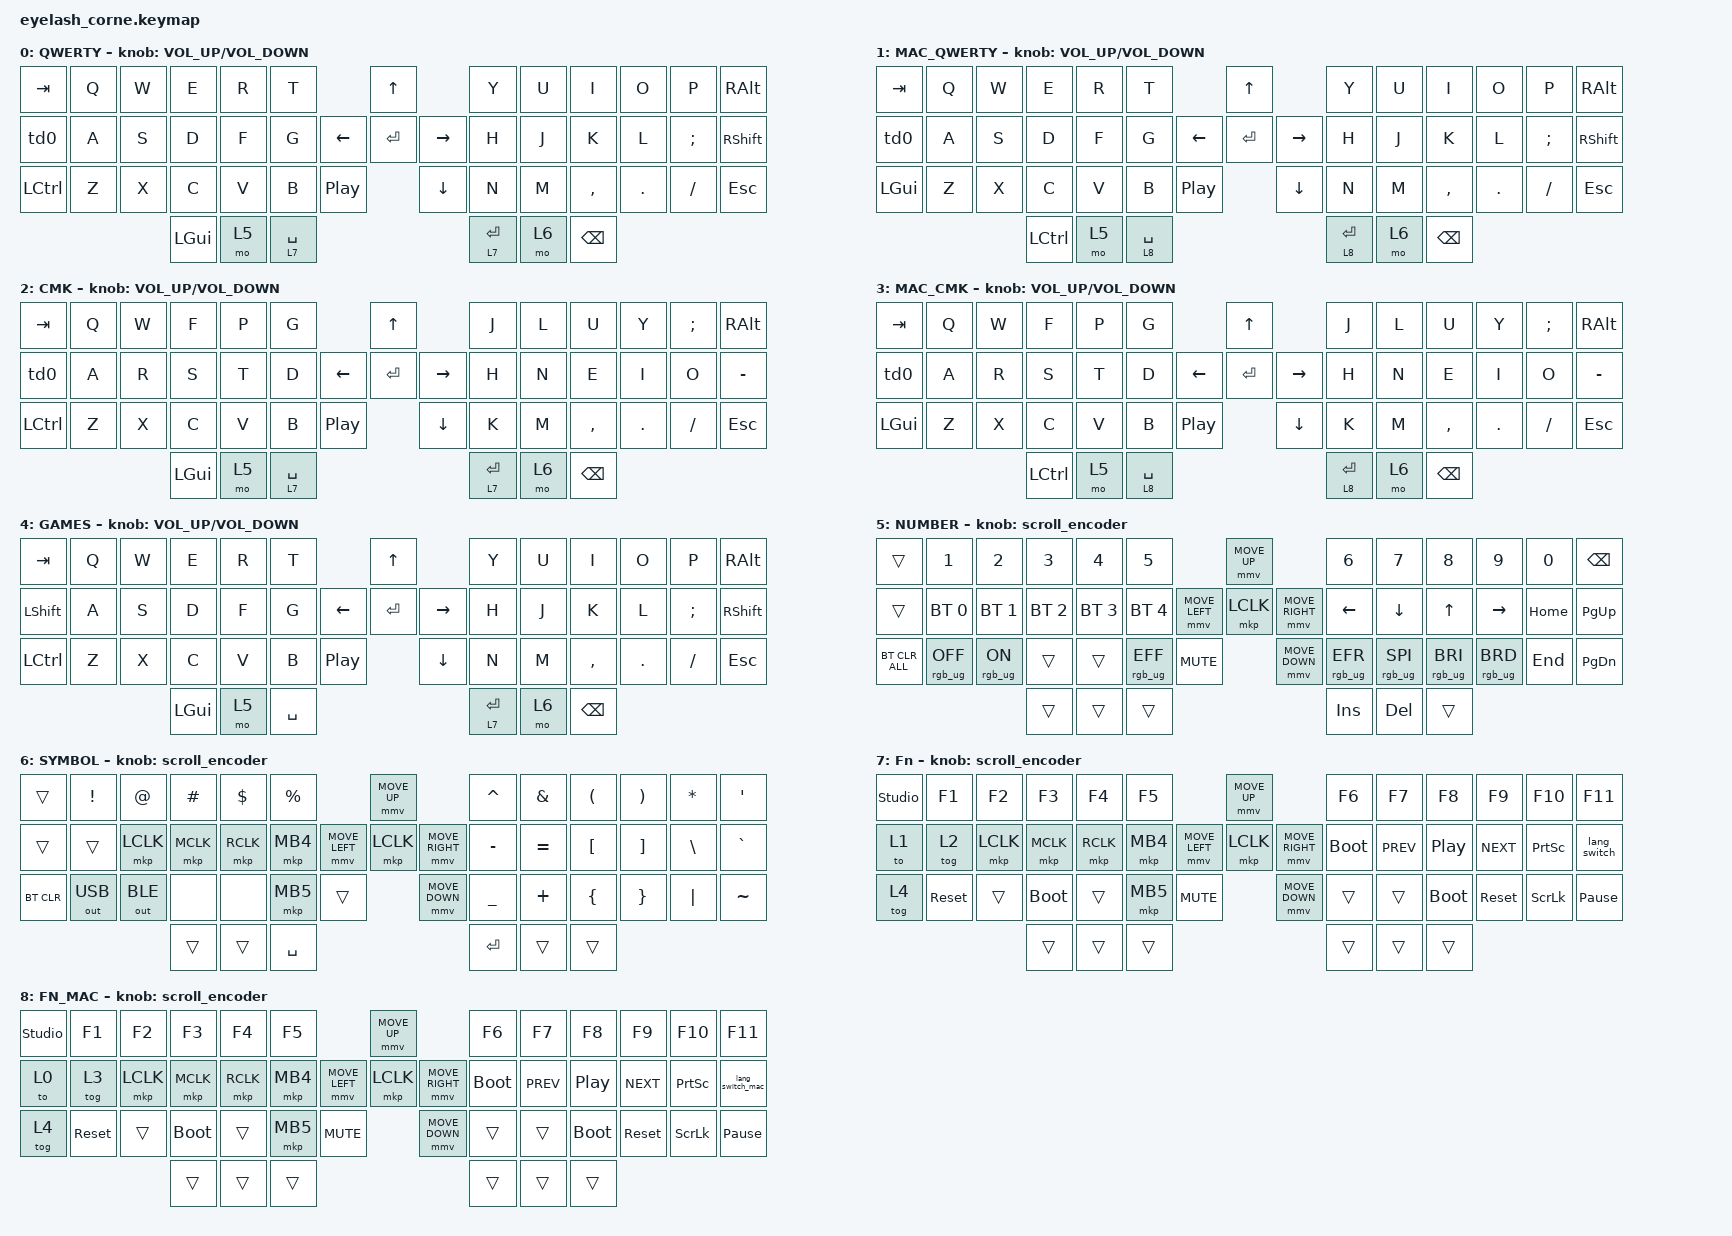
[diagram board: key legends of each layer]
#define ZMK_POINTING_DEFAULT_MOVE_VAL 1200  // 600
#define ZMK_POINTING_DEFAULT_SCRL_VAL 25   // 10

#include <input/processors.dtsi>
#include <zephyr/dt-bindings/input/input-event-codes.h>
#include <behaviors.dtsi>
#include <dt-bindings/zmk/bt.h>
#include <dt-bindings/zmk/keys.h>
#include <dt-bindings/zmk/outputs.h>
#include <dt-bindings/zmk/pointing.h>
#include <dt-bindings/zmk/rgb.h>

&mmv_input_listener { input-processors = <&zip_xy_scaler 2 1>; };

&msc_input_listener { input-processors = <&zip_scroll_scaler 2 1>; };

&msc {
    acceleration-exponent = <1>;      // 0
    time-to-max-speed-ms = <100>;       // 300
    delay-ms = <0>;                   // 0
};

&mmv {
    time-to-max-speed-ms = <500>;
    acceleration-exponent = <1>;
    trigger-period-ms = <16>;
};




/ {

    macros {        
        lang_switch: lang_switch {
            compatible = "zmk,behavior-macro";
            #binding-cells = <0>;
            wait-ms = <10>;
            tap-ms = <10>;
            bindings = <
                &macro_press &kp LGUI
                &macro_tap &kp SPACE
                &macro_release &kp LGUI
            >;
        };
        lang_switch_mac: lang_switch_mac {            
            compatible = "zmk,behavior-macro";#binding-cells = <0>;            
            wait-ms = <10>;            
            tap-ms = <10>;            
            bindings = <&macro_press &kp LCTRL &kp LALT>, 
                    <&macro_tap &kp SPACE>, 
                    <&macro_release &kp LCTRL &kp LALT>;
            };
        };


    behaviors {
        td0: td0 {
            compatible = "zmk,behavior-tap-dance";
            display-name = "Shift/Caps Lock Tap Dance";
            #binding-cells = <0>;
            bindings = <&kp LEFT_SHIFT>, <&kp CAPS>;
        };
    };

    rgb_encoder: rgb_encoder {
        compatible = "zmk,behavior-sensor-rotate";
        #sensor-binding-cells = <0>;
        bindings = <&rgb_ug RGB_BRI>, <&rgb_ug RGB_BRD>;
    };

    scroll_encoder: scroll_encoder {
        compatible = "zmk,behavior-sensor-rotate";
        #sensor-binding-cells = <0>;
        bindings = <&msc SCRL_DOWN>, <&msc SCRL_UP>;

        tap-ms = <100>;
    };

    keymap {
        compatible = "zmk,keymap";

        QWERTY {
            display-name = "QWERTY";
            bindings = <
&kp TAB    &kp Q  &kp W  &kp E     &kp R  &kp T                               &kp UP                &kp Y        &kp U  &kp I      &kp O    &kp P     &kp RALT
&td0       &kp A  &kp S  &kp D     &kp F  &kp G                     &kp LEFT  &kp ENTER  &kp RIGHT  &kp H        &kp J  &kp K      &kp L    &kp SEMI  &kp RIGHT_SHIFT
&kp LCTRL  &kp Z  &kp X  &kp C     &kp V  &kp B        &kp C_PP              &kp DOWN              &kp N        &kp M  &kp COMMA  &kp DOT  &kp FSLH  &kp ESC
                         &kp LGUI   &mo 5  &lt 7 SPACE                                               &lt 7 ENTER  &mo 6  &kp BSPC
            >;

             sensor-bindings = <&inc_dec_kp C_VOLUME_UP C_VOLUME_DOWN>; 
        };    

        QWERTY_MAC {
            display-name = "MAC_QWERTY";
            bindings = <
&kp TAB    &kp Q  &kp W  &kp E     &kp R  &kp T                               &kp UP                &kp Y        &kp U  &kp I      &kp O    &kp P     &kp RALT
&td0       &kp A  &kp S  &kp D     &kp F  &kp G                     &kp LEFT  &kp ENTER  &kp RIGHT  &kp H        &kp J  &kp K      &kp L    &kp SEMI  &kp RIGHT_SHIFT
&kp LGUI  &kp Z  &kp X  &kp C     &kp V  &kp B        &kp C_PP              &kp DOWN              &kp N        &kp M  &kp COMMA  &kp DOT  &kp FSLH  &kp ESC
                         &kp LCTRL   &mo 5  &lt 8 SPACE                                               &lt 8 ENTER  &mo 6  &kp BSPC
            >;

             sensor-bindings = <&inc_dec_kp C_VOLUME_UP C_VOLUME_DOWN>; 
        };    

        COLEMAK {
            display-name = "CMK";
            bindings = <
&kp TAB    &kp Q  &kp W  &kp F  &kp P  &kp G                         &kp UP               &kp J  &kp L  &kp U     &kp Y     &kp SEMI     &kp RALT
&td0       &kp A    &kp R      &kp S    &kp T  &kp D              &kp LEFT  &kp ENTER &kp RIGHT  &kp H  &kp N  &kp E     &kp I     &kp O     &kp MINUS
&kp LCTRL  &kp Z &kp X      &kp C    &kp V  &kp B     &kp C_PP         &kp DOWN             &kp K  &kp M  &kp COMMA     &kp DOT     &kp FSLH     &kp ESC
                        &kp LGUI  &mo 5  &lt 7 SPACE                                         &lt 7 ENTER  &mo 6  &kp BSPC
            >;

            sensor-bindings = <&inc_dec_kp C_VOLUME_UP C_VOLUME_DOWN>;
        };

        COLEMAK_MAC {
            display-name = "MAC_CMK";
            bindings = <
&kp TAB    &kp Q  &kp W  &kp F  &kp P  &kp G                         &kp UP               &kp J  &kp L  &kp U     &kp Y     &kp SEMI     &kp RALT
&td0       &kp A    &kp R      &kp S    &kp T  &kp D              &kp LEFT  &kp ENTER &kp RIGHT  &kp H  &kp N  &kp E     &kp I     &kp O     &kp MINUS
&kp LGUI  &kp Z &kp X      &kp C    &kp V  &kp B     &kp C_PP         &kp DOWN             &kp K  &kp M  &kp COMMA     &kp DOT     &kp FSLH     &kp ESC
                        &kp LCTRL  &mo 5  &lt 8 SPACE                                         &lt 8 ENTER  &mo 6  &kp BSPC
            >;

            sensor-bindings = <&inc_dec_kp C_VOLUME_UP C_VOLUME_DOWN>;
        };

        GAMES {
            display-name = "GAMES";
            bindings = <
&kp TAB    &kp Q  &kp W  &kp E     &kp R  &kp T                               &kp UP                &kp Y        &kp U  &kp I      &kp O    &kp P     &kp RALT
&kp LEFT_SHIFT       &kp A  &kp S  &kp D     &kp F  &kp G                     &kp LEFT  &kp ENTER  &kp RIGHT  &kp H        &kp J  &kp K      &kp L    &kp SEMI  &kp RIGHT_SHIFT
&kp LCTRL  &kp Z  &kp X  &kp C     &kp V  &kp B        &kp C_PP              &kp DOWN              &kp N        &kp M  &kp COMMA  &kp DOT  &kp FSLH  &kp ESC
                         &kp LGUI   &mo 5  &kp SPACE                                               &lt 7                                      ENTER  &mo 6  &kp BSPC
            >;

             sensor-bindings = <&inc_dec_kp C_VOLUME_UP C_VOLUME_DOWN>; 
        };    

        NUMBER_LAYER {
            display-name = "NUMBER";
            bindings = <
&trans  &kp N1           &kp N2          &kp N3        &kp N4        &kp N5                                         &mmv MOVE_UP                     &kp N6           &kp N7           &kp N8           &kp N9           &kp N0    &kp BSPC
&trans  &bt BT_SEL 0   &bt BT_SEL 1    &bt BT_SEL 2  &bt BT_SEL 3  &bt BT_SEL 4                   &mmv MOVE_LEFT  &mkp LCLK       &mmv MOVE_RIGHT  &kp LEFT         &kp DOWN         &kp UP           &kp RIGHT        &kp HOME  &kp PG_UP
&bt BT_CLR_ALL  &rgb_ug RGB_OFF  &rgb_ug RGB_ON  &trans        &trans        &rgb_ug RGB_EFF  &kp C_MUTE                    &mmv MOVE_DOWN                   &rgb_ug RGB_EFR  &rgb_ug RGB_SPI  &rgb_ug RGB_BRI  &rgb_ug RGB_BRD  &kp END   &kp PG_DN
                                         &trans        &trans        &trans                                                                          &kp INS          &kp DEL          &trans
            >;

            sensor-bindings = <&scroll_encoder>;
        };

        SYMBOL_LAYER {
            display-name = "SYMBOL";
            bindings = <
&trans      &kp EXCL      &kp AT        &kp HASH   &kp DLLR   &kp PRCNT                            &mmv MOVE_UP                     &kp CARET  &kp AMPS   &kp LPAR   &kp RPAR  &kp ASTRK  &kp SQT
&trans      &trans        &mkp LCLK     &mkp MCLK  &mkp RCLK  &mkp MB4             &mmv MOVE_LEFT  &mkp LCLK       &mmv MOVE_RIGHT  &kp MINUS  &kp EQUAL  &kp LBKT   &kp RBKT  &kp BSLH   &kp GRAVE
&bt BT_CLR  &out OUT_USB  &out OUT_BLE  &none      &none      &mkp MB5   &trans                    &mmv MOVE_DOWN                   &kp UNDER  &kp PLUS   &kp LBRC   &kp RBRC  &kp PIPE   &kp TILDE
                                    &trans     &trans     &kp SPACE                                                             &kp RET    &trans     &trans
            >;

            sensor-bindings = <&scroll_encoder>;
        };

        FN {
            display-name = "Fn";
            bindings = <
&studio_unlock  &kp F1      &kp F2     &kp F3       &kp F4     &kp F5                                  &mmv MOVE_UP                     &kp F6       &kp F7     &kp F8       &kp F9      &kp F10          &kp F11
&to 1          &tog 2      &mkp LCLK  &mkp MCLK    &mkp RCLK  &mkp MB4                &mmv MOVE_LEFT  &mkp LCLK       &mmv MOVE_RIGHT  &bootloader  &kp C_PREV  &kp C_PP    &kp C_NEXT   &kp PRINTSCREEN  &lang_switch
&tog 4          &sys_reset  &trans     &bootloader  &trans     &mkp MB5  &kp C_MUTE                    &mmv MOVE_DOWN                   &trans       &trans     &bootloader  &sys_reset  &kp SCROLLLOCK   &kp PAUSE_BREAK
                                       &trans       &trans     &trans                                                                   &trans       &trans     &trans
            >;

            sensor-bindings = <&scroll_encoder>;
        };

        FN_MAC {
            display-name = "FN_MAC";
            bindings = <
&studio_unlock  &kp F1      &kp F2     &kp F3       &kp F4     &kp F5                                  &mmv MOVE_UP                     &kp F6       &kp F7     &kp F8       &kp F9      &kp F10          &kp F11
&to 0          &tog 3      &mkp LCLK  &mkp MCLK    &mkp RCLK  &mkp MB4                &mmv MOVE_LEFT  &mkp LCLK       &mmv MOVE_RIGHT  &bootloader  &kp C_PREV  &kp C_PP    &kp C_NEXT   &kp PRINTSCREEN  &lang_switch_mac
&tog 4          &sys_reset  &trans     &bootloader  &trans     &mkp MB5  &kp C_MUTE                    &mmv MOVE_DOWN                   &trans       &trans     &bootloader  &sys_reset  &kp SCROLLLOCK   &kp PAUSE_BREAK
                                       &trans       &trans     &trans                                                                   &trans       &trans     &trans
            >;

            sensor-bindings = <&scroll_encoder>;
        };
    };
};
